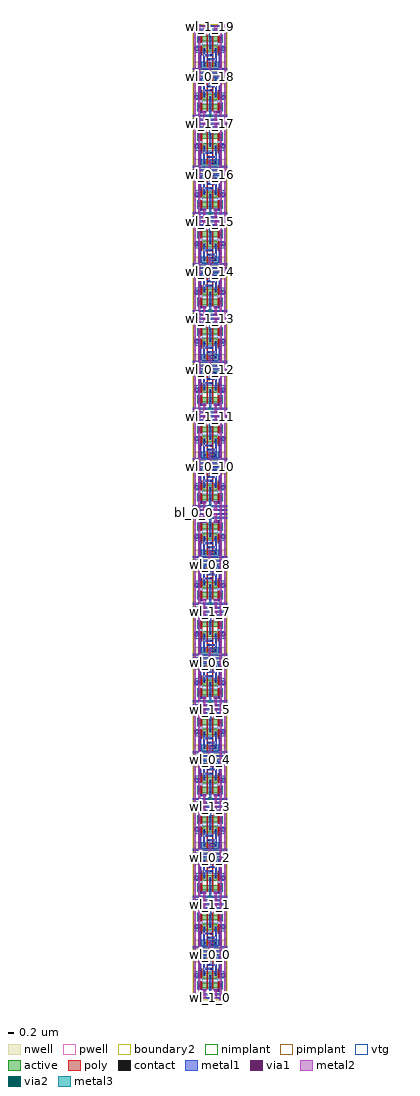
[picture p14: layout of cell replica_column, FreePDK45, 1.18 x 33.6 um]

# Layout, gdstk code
import gdstk
lib = gdstk.Library(unit=1e-6, precision=5e-10)
def R(c, l, rs):  # rectangles x0, y0, x1, y1
    for r in rs: c.add(gdstk.rectangle(r[:2], r[2:], *l))
def A(c, l, x, y, w, h, nx, ny, dx, dy):  # array of equal rectangles
    R(c, l, [(x+i*dx, y+j*dy, x+i*dx+w, y+j*dy+h) for i in range(nx) for j in range(ny)])
active = (1, 0)
pwell = (2, 0)
nwell = (3, 0)
nimplant = (4, 0)
pimplant = (5, 0)
vtg = (6, 0)
poly = (9, 0)
contact = (10, 0)
metal1 = (11, 0)
via1 = (12, 0)
metal2 = (13, 0)
via2 = (14, 0)
metal3 = (15, 0)
boundary2 = (239, 0)

dummy_cell_2rw = lib.new_cell('dummy_cell_2rw')
R(dummy_cell_2rw, active, [(0.545,0.155,0.635,0.245), (0.165,0.4175,0.22,0.5975), (0.2075,0.4175,0.2775,0.5975), (0.2075,0.4175,0.3975,0.5975), (0.3275,0.4175,0.3975,0.5975), (0.3975,0.4175,0.4675,0.5975), (0.3975,0.4175,0.5875,0.5975), (0.5175,0.4175,0.5875,0.5975), (0.5525,0.4175,0.6275,0.4925), (0.5525,0.4175,0.6275,0.5975), (0.5525,0.4175,0.6275,0.5975), (0.5525,0.4175,0.7775,0.5975), (0.7075,0.4175,0.7775,0.5975), (0.7775,0.4175,0.8475,0.5975), (0.7775,0.4175,0.9675,0.5975), (0.8975,0.4175,0.9675,0.5975), (0.955,0.4175,1.01,0.5975), (0.165,0.4625,0.255,0.5525), (0.92,0.4625,1.01,0.5525), (0.3625,0.7375,0.4375,0.9425), (0.3625,0.7375,0.4375,0.9425), (0.3625,0.7375,0.5875,0.9425), (0.5175,0.7375,0.5875,0.9425), (0.5875,0.7375,0.6575,0.9425), (0.5875,0.7375,0.8125,0.9425), (0.7375,0.7375,0.8125,0.9425), (0.7375,0.7375,0.8125,0.9425), (0.545,0.7575,0.635,0.8475), (0.1575,0.8075,0.2325,0.8825), (0.1575,0.8075,0.2325,0.9425), (0.1575,0.8075,0.2325,0.9425), (0.1575,0.8075,0.3825,0.9425), (0.3125,0.8075,0.3825,0.9425), (0.7925,0.8075,0.8625,0.9425), (0.7925,0.8075,1.0175,0.9425), (0.9425,0.8075,1.0175,0.8825), (0.9425,0.8075,1.0175,0.9425), (0.9425,0.8075,1.0175,0.9425), (0.3625,0.8675,0.4375,0.9425), (0.7375,0.8675,0.8125,0.9425), (0.3625,1.3475,0.4375,1.4225), (0.3625,1.3475,0.4375,1.4375), (0.3625,1.3475,0.4375,1.4375), (0.3625,1.3475,0.6225,1.4375), (0.5475,1.3475,0.6225,1.4225), (0.5475,1.3475,0.6225,1.4375), (0.5475,1.3475,0.6225,1.4375), (0.5875,1.3475,0.6575,1.4375), (0.5875,1.3475,0.8125,1.4375), (0.7375,1.3475,0.8125,1.4225), (0.7375,1.3475,0.8125,1.4375), (0.7375,1.3475,0.8125,1.4375), (0.54,1.635,0.63,1.725)])
R(dummy_cell_2rw, pwell, [(0,0,1.175,0.9975), (0.49,0.1,0.69,0.3), (0.1525,0.3625,0.4525,0.6525), (0.3425,0.3625,0.6425,0.6525), (0.4975,0.3625,0.8325,0.6525), (0.7225,0.3625,1.0225,0.6525), (0.3075,0.6825,0.6425,0.9975), (0.5325,0.6825,0.8675,0.9975), (0.1025,0.7525,0.4375,0.9975), (0.7375,0.7525,1.0725,0.9975)])
R(dummy_cell_2rw, nwell, [(0,1.2925,1.175,1.68), (0.3075,1.2925,0.6775,1.4925), (0.5325,1.2925,0.8675,1.4925), (0.485,1.58,0.685,1.78)])
R(dummy_cell_2rw, nimplant, [(0.165,0.4175,0.22,0.5975), (0.2075,0.4175,0.3975,0.5975), (0.3975,0.4175,0.5875,0.5975), (0.5525,0.4175,0.7775,0.5975), (0.7775,0.4175,0.9675,0.5975), (0.955,0.4175,1.01,0.5975), (0.165,0.4625,0.255,0.5525), (0.92,0.4625,1.01,0.5525), (0.3625,0.7375,0.5875,0.9425), (0.5875,0.7375,0.8125,0.9425), (0.545,0.7575,0.635,0.8475), (0.1575,0.8075,0.3825,0.9425), (0.7925,0.8075,1.0175,0.9425), (0.54,1.635,0.63,1.725)])
R(dummy_cell_2rw, pimplant, [(0.545,0.155,0.635,0.245), (0.3625,1.3475,0.6225,1.4375), (0.5875,1.3475,0.8125,1.4375)])
R(dummy_cell_2rw, vtg, [(0.1525,0.3625,0.4525,0.6525), (0.3425,0.3625,0.6425,0.6525), (0.4975,0.3625,0.8325,0.6525), (0.7225,0.3625,1.0225,0.6525), (0.3075,0.6825,0.6425,0.9975), (0.5325,0.6825,0.8675,0.9975), (0.1025,0.7525,0.4375,0.9975), (0.7375,0.7525,1.0725,0.9975), (0.3075,1.2925,0.6775,1.4925), (0.5325,1.2925,0.8675,1.4925)])
A(dummy_cell_2rw, poly, 0.2775, 0.3625, 0.05, 0.055, 4, 2, 0.19, 0.235)
A(dummy_cell_2rw, poly, 0.2775, 0.3625, 0.05, 0.29, 4, 1, 0.19, 0)
R(dummy_cell_2rw, poly, [(0.265,0.2925,0.34,0.3675), (0.835,0.2925,0.91,0.3675), (0.6575,0.625,0.7075,0.71), (0.4675,0.635,0.5175,0.71), (0.4675,0.6825,0.5175,0.9975), (0.4675,0.6825,0.5175,0.7375), (0.6575,0.6825,0.7075,0.9975), (0.6575,0.6825,0.7075,0.7375), (0.2625,0.7525,0.3125,0.8075), (0.2625,0.7525,0.3125,0.9975), (0.8625,0.7525,0.9125,0.8075), (0.8625,0.7525,0.9125,0.9975), (0.4675,0.9075,0.5175,1.32), (0.6575,0.9075,0.7075,1.32), (0.2625,0.9425,0.3125,0.9975), (0.4675,0.9425,0.5175,0.9975), (0.6575,0.9425,0.7075,0.9975), (0.8625,0.9425,0.9125,0.9975), (0.2625,0.985,0.3125,1.0825), (0.8625,0.985,0.9125,1.0825), (0.2125,1.0075,0.2875,1.0825), (0.8875,1.0075,0.9625,1.0825), (0.5925,1.0325,0.6675,1.1075), (0.5075,1.1825,0.5825,1.2575), (0.4675,1.2925,0.5175,1.3475), (0.4675,1.2925,0.5175,1.4925), (0.6575,1.2925,0.7075,1.3475), (0.6575,1.2925,0.7075,1.4925), (0.4675,1.4375,0.5175,1.4925), (0.6575,1.4375,0.7075,1.4925)])
R(dummy_cell_2rw, contact, [(0.5575,0.1675,0.6225,0.2325), (0.27,0.2975,0.335,0.3625), (0.84,0.2975,0.905,0.3625), (0.5575,0.4225,0.6225,0.4875), (0.1775,0.475,0.2425,0.54), (0.9325,0.475,0.9975,0.54), (0.5575,0.77,0.6225,0.835), (0.1625,0.8125,0.2275,0.8775), (0.9475,0.8125,1.0125,0.8775), (0.3675,0.8725,0.4325,0.9375), (0.7425,0.8725,0.8075,0.9375), (0.2175,1.0125,0.2825,1.0775), (0.8925,1.0125,0.9575,1.0775), (0.5975,1.0375,0.6625,1.1025), (0.5125,1.1875,0.5775,1.2525), (0.3675,1.3525,0.4325,1.4175), (0.5525,1.3525,0.6175,1.4175), (0.7425,1.3525,0.8075,1.4175), (0.5525,1.6475,0.6175,1.7125)])
R(dummy_cell_2rw, metal1, [(0,0.0375,1.175,0.1025), (0,0.0375,1.175,0.1025), (0.315,0.0375,0.45,0.1025), (0.725,0.0375,0.86,0.1025), (0.11,0.05,0.1725,0.08), (0,0.1675,1.175,0.2325), (0.5225,0.1675,0.6575,0.2325), (0.5575,0.1975,0.6225,0.8), (0.235,0.2975,0.37,0.3625), (0.315,0.2975,0.45,0.3625), (0.725,0.2975,0.86,0.3625), (0.805,0.2975,0.94,0.3625), (0.5575,0.3875,0.6225,0.5225), (0.1775,0.44,0.2425,0.575), (0.1775,0.44,0.2425,0.575), (0.9325,0.44,0.9975,0.575), (0.9325,0.44,0.9975,0.575), (0.5575,0.735,0.6225,0.87), (0.0375,0.7775,0.1025,0.9125), (0.0375,0.7775,0.2275,0.9125), (0.1625,0.7775,0.2275,0.9125), (0.9475,0.7775,1.0125,0.9125), (0.9475,0.7775,1.1375,0.9125), (1.0725,0.7775,1.1375,0.9125), (0.3475,0.8375,0.4125,1.4525), (0.3675,0.8375,0.4325,0.9725), (0.7425,0.8375,0.8075,0.9725), (0.7625,0.8375,0.8275,1.4525), (0.2175,0.9775,0.2825,1.1125), (0.8925,0.9775,0.9575,1.1125), (0.3675,1.0375,0.5825,1.1025), (0.5625,1.0375,0.6975,1.1025), (0.2175,1.08,0.2825,1.57), (0.8925,1.08,0.9575,1.57), (0.4775,1.1875,0.6125,1.2525), (0.5925,1.1875,0.8275,1.2525), (0.3675,1.3175,0.4325,1.4525), (0.5525,1.3175,0.6175,1.4525), (0.5525,1.3175,0.6175,1.4525), (0.7425,1.3175,0.8075,1.4525), (0,1.5175,1.175,1.5825), (0,1.5175,1.175,1.5825), (0.1,1.5275,0.185,1.5625), (0,1.6475,1.175,1.7125), (0.5175,1.6475,0.6525,1.7125), (0.5175,1.6475,0.6525,1.7125)])
R(dummy_cell_2rw, via1, [(0.35,0.0375,0.415,0.1025), (0.76,0.0375,0.825,0.1025), (0.5575,0.1675,0.6225,0.2325), (0.35,0.2975,0.415,0.3625), (0.76,0.2975,0.825,0.3625), (0.5525,1.3525,0.6175,1.4175), (0.5525,1.6475,0.6175,1.7125)])
R(dummy_cell_2rw, metal2, [(0.035,0,0.105,1.745), (0.035,0,0.105,1.745), (0.175,0,0.245,1.745), (0.175,0,0.245,1.745), (0.93,0,1,1.745), (0.93,0,1,1.745), (1.07,0,1.14,1.745), (1.07,0,1.14,1.745), (0.315,0.035,0.45,0.105), (0.725,0.035,0.86,0.105), (0.3475,0.1025,0.4175,0.365), (0.7575,0.1025,0.8275,0.365), (0.5225,0.165,0.6575,0.235), (0.315,0.295,0.45,0.365), (0.725,0.295,0.86,0.365), (0.175,0.44,0.245,0.575), (0.93,0.44,1,0.575), (0.035,0.7775,0.105,0.9125), (1.07,0.7775,1.14,0.9125), (0.55,1.3175,0.62,1.4525), (1.0875,1.3225,1.1325,1.3575), (0.9525,1.33,0.985,1.36), (0.1925,1.34,0.23,1.365), (0.0475,1.3425,0.09,1.37), (0.55,1.3425,0.62,1.7125), (0.5175,1.645,0.6525,1.715)])
R(dummy_cell_2rw, via2, [(0.5575,0.1675,0.6225,0.2325), (0.5525,1.6475,0.6175,1.7125)])
R(dummy_cell_2rw, metal3, [(0.5225,0.165,0.6575,0.235), (0.5225,0.165,0.6575,0.235), (0.5825,0.1875,0.605,0.21), (0.5175,1.645,0.6525,1.715), (0.5175,1.645,0.6525,1.715), (0.58,1.6775,0.59,1.6875)])
R(dummy_cell_2rw, boundary2, [(0,0,1.175,1.68)])
dummy_cell_2rw.add(gdstk.Label('wl1', (0.135,0.0625), layer=11, texttype=0))
dummy_cell_2rw.add(gdstk.Label('wl0', (0.14,1.54), layer=11, texttype=0))
dummy_cell_2rw.add(gdstk.Label('br0', (1.1075,1.3425), layer=13, texttype=0))
dummy_cell_2rw.add(gdstk.Label('br1', (0.9675,1.3475), layer=13, texttype=0))
dummy_cell_2rw.add(gdstk.Label('bl1', (0.205,1.3575), layer=13, texttype=0))
dummy_cell_2rw.add(gdstk.Label('bl0', (0.07,1.3575), layer=13, texttype=0))
dummy_cell_2rw.add(gdstk.Label('vdd', (0.585,1.6825), layer=15, texttype=0))
dummy_cell_2rw.add(gdstk.Label('gnd', (0.5925,0.1975), layer=15, texttype=0))
dummy_cell_2rw.add(gdstk.Label('bl0', (0.07,0.8725), layer=13, texttype=0))
dummy_cell_2rw.add(gdstk.Label('br0', (1.105,0.8725), layer=13, texttype=0))
dummy_cell_2rw.add(gdstk.Label('bl1', (0.21,0.8725), layer=13, texttype=0))
dummy_cell_2rw.add(gdstk.Label('br1', (0.965,0.8725), layer=13, texttype=0))
dummy_cell_2rw.add(gdstk.Label('wl0', (0.5875,1.55), layer=11, texttype=0))
dummy_cell_2rw.add(gdstk.Label('wl1', (0.5875,0.07), layer=11, texttype=0))
dummy_cell_2rw.add(gdstk.Label('vdd', (0.585,1.68), layer=15, texttype=0))
dummy_cell_2rw.add(gdstk.Label('gnd', (0.59,0.2), layer=15, texttype=0))

replica_cell_2rw = lib.new_cell('replica_cell_2rw')
R(replica_cell_2rw, active, [(0.545,0.155,0.635,0.245), (0.165,0.4175,0.22,0.5975), (0.2075,0.4175,0.2775,0.5975), (0.2075,0.4175,0.3975,0.5975), (0.3275,0.4175,0.3975,0.5975), (0.3975,0.4175,0.4675,0.5975), (0.3975,0.4175,0.5875,0.5975), (0.5175,0.4175,0.5875,0.5975), (0.5525,0.4175,0.6275,0.4925), (0.5525,0.4175,0.6275,0.5975), (0.5525,0.4175,0.6275,0.5975), (0.5525,0.4175,0.7775,0.5975), (0.7075,0.4175,0.7775,0.5975), (0.7775,0.4175,0.8475,0.5975), (0.7775,0.4175,0.9675,0.5975), (0.8975,0.4175,0.9675,0.5975), (0.955,0.4175,1.01,0.5975), (0.165,0.4625,0.255,0.5525), (0.92,0.4625,1.01,0.5525), (0.3625,0.7375,0.4375,0.9425), (0.3625,0.7375,0.4375,0.9425), (0.3625,0.7375,0.5875,0.9425), (0.5175,0.7375,0.5875,0.9425), (0.5875,0.7375,0.6575,0.9425), (0.5875,0.7375,0.8125,0.9425), (0.7375,0.7375,0.8125,0.9425), (0.7375,0.7375,0.8125,0.9425), (0.545,0.7575,0.635,0.8475), (0.1575,0.8075,0.2325,0.8825), (0.1575,0.8075,0.2325,0.9425), (0.1575,0.8075,0.2325,0.9425), (0.1575,0.8075,0.3825,0.9425), (0.3125,0.8075,0.3825,0.9425), (0.7925,0.8075,0.8625,0.9425), (0.7925,0.8075,1.0175,0.9425), (0.9425,0.8075,1.0175,0.8825), (0.9425,0.8075,1.0175,0.9425), (0.9425,0.8075,1.0175,0.9425), (0.3625,0.8675,0.4375,0.9425), (0.7375,0.8675,0.8125,0.9425), (0.3625,1.3475,0.4375,1.4225), (0.3625,1.3475,0.4375,1.4375), (0.3625,1.3475,0.4375,1.4375), (0.3625,1.3475,0.6225,1.4375), (0.5475,1.3475,0.6225,1.4225), (0.5475,1.3475,0.6225,1.4375), (0.5475,1.3475,0.6225,1.4375), (0.5875,1.3475,0.6575,1.4375), (0.5875,1.3475,0.8125,1.4375), (0.7375,1.3475,0.8125,1.4225), (0.7375,1.3475,0.8125,1.4375), (0.7375,1.3475,0.8125,1.4375), (0.54,1.635,0.63,1.725)])
R(replica_cell_2rw, pwell, [(0,0,1.175,0.9975), (0.49,0.1,0.69,0.3), (0.1525,0.3625,0.4525,0.6525), (0.3425,0.3625,0.6425,0.6525), (0.4975,0.3625,0.8325,0.6525), (0.7225,0.3625,1.0225,0.6525), (0.3075,0.6825,0.6425,0.9975), (0.5325,0.6825,0.8675,0.9975), (0.1025,0.7525,0.4375,0.9975), (0.7375,0.7525,1.0725,0.9975)])
R(replica_cell_2rw, nwell, [(0,1.2925,1.175,1.68), (0.3075,1.2925,0.6775,1.4925), (0.5325,1.2925,0.8675,1.4925), (0.485,1.58,0.685,1.78)])
R(replica_cell_2rw, nimplant, [(0.165,0.4175,0.22,0.5975), (0.2075,0.4175,0.3975,0.5975), (0.3975,0.4175,0.5875,0.5975), (0.5525,0.4175,0.7775,0.5975), (0.7775,0.4175,0.9675,0.5975), (0.955,0.4175,1.01,0.5975), (0.165,0.4625,0.255,0.5525), (0.92,0.4625,1.01,0.5525), (0.3625,0.7375,0.5875,0.9425), (0.5875,0.7375,0.8125,0.9425), (0.545,0.7575,0.635,0.8475), (0.1575,0.8075,0.3825,0.9425), (0.7925,0.8075,1.0175,0.9425), (0.54,1.635,0.63,1.725)])
R(replica_cell_2rw, pimplant, [(0.545,0.155,0.635,0.245), (0.3625,1.3475,0.6225,1.4375), (0.5875,1.3475,0.8125,1.4375)])
R(replica_cell_2rw, vtg, [(0.1525,0.3625,0.4525,0.6525), (0.3425,0.3625,0.6425,0.6525), (0.4975,0.3625,0.8325,0.6525), (0.7225,0.3625,1.0225,0.6525), (0.3075,0.6825,0.6425,0.9975), (0.5325,0.6825,0.8675,0.9975), (0.1025,0.7525,0.4375,0.9975), (0.7375,0.7525,1.0725,0.9975), (0.3075,1.2925,0.6775,1.4925), (0.5325,1.2925,0.8675,1.4925)])
A(replica_cell_2rw, poly, 0.2775, 0.3625, 0.05, 0.055, 4, 2, 0.19, 0.235)
A(replica_cell_2rw, poly, 0.2775, 0.3625, 0.05, 0.29, 4, 1, 0.19, 0)
R(replica_cell_2rw, poly, [(0.265,0.2925,0.34,0.3675), (0.835,0.2925,0.91,0.3675), (0.6575,0.625,0.7075,0.71), (0.4675,0.635,0.5175,0.71), (0.4675,0.6825,0.5175,0.9975), (0.4675,0.6825,0.5175,0.7375), (0.6575,0.6825,0.7075,0.9975), (0.6575,0.6825,0.7075,0.7375), (0.2625,0.7525,0.3125,0.8075), (0.2625,0.7525,0.3125,0.9975), (0.8625,0.7525,0.9125,0.8075), (0.8625,0.7525,0.9125,0.9975), (0.4675,0.9075,0.5175,1.32), (0.6575,0.9075,0.7075,1.32), (0.2625,0.9425,0.3125,0.9975), (0.4675,0.9425,0.5175,0.9975), (0.6575,0.9425,0.7075,0.9975), (0.8625,0.9425,0.9125,0.9975), (0.2625,0.985,0.3125,1.0825), (0.8625,0.985,0.9125,1.0825), (0.2125,1.0075,0.2875,1.0825), (0.8875,1.0075,0.9625,1.0825), (0.5925,1.0325,0.6675,1.1075), (0.5075,1.1825,0.5825,1.2575), (0.4675,1.2925,0.5175,1.3475), (0.4675,1.2925,0.5175,1.4925), (0.6575,1.2925,0.7075,1.3475), (0.6575,1.2925,0.7075,1.4925), (0.4675,1.4375,0.5175,1.4925), (0.6575,1.4375,0.7075,1.4925)])
R(replica_cell_2rw, contact, [(0.5575,0.1675,0.6225,0.2325), (0.27,0.2975,0.335,0.3625), (0.84,0.2975,0.905,0.3625), (0.5575,0.4225,0.6225,0.4875), (0.1775,0.475,0.2425,0.54), (0.9325,0.475,0.9975,0.54), (0.5575,0.77,0.6225,0.835), (0.1625,0.8125,0.2275,0.8775), (0.9475,0.8125,1.0125,0.8775), (0.3675,0.8725,0.4325,0.9375), (0.7425,0.8725,0.8075,0.9375), (0.2175,1.0125,0.2825,1.0775), (0.8925,1.0125,0.9575,1.0775), (0.5975,1.0375,0.6625,1.1025), (0.5125,1.1875,0.5775,1.2525), (0.3675,1.3525,0.4325,1.4175), (0.5525,1.3525,0.6175,1.4175), (0.7425,1.3525,0.8075,1.4175), (0.5525,1.6475,0.6175,1.7125)])
R(replica_cell_2rw, metal1, [(0,0.0375,1.175,0.1025), (0,0.0375,1.175,0.1025), (0.315,0.0375,0.45,0.1025), (0.725,0.0375,0.86,0.1025), (0.11,0.05,0.1725,0.08), (0,0.1675,1.175,0.2325), (0.5225,0.1675,0.6575,0.2325), (0.5575,0.1975,0.6225,0.8), (0.235,0.2975,0.37,0.3625), (0.315,0.2975,0.45,0.3625), (0.725,0.2975,0.86,0.3625), (0.805,0.2975,0.94,0.3625), (0.5575,0.3875,0.6225,0.5225), (0.1775,0.44,0.2425,0.575), (0.1775,0.44,0.2425,0.575), (0.9325,0.44,0.9975,0.575), (0.9325,0.44,0.9975,0.575), (0.5575,0.735,0.6225,0.87), (0.0375,0.7775,0.1025,0.9125), (0.0375,0.7775,0.2275,0.9125), (0.1625,0.7775,0.2275,0.9125), (0.9475,0.7775,1.0125,0.9125), (0.9475,0.7775,1.1375,0.9125), (1.0725,0.7775,1.1375,0.9125), (0.3475,0.8375,0.4125,1.4525), (0.3675,0.8375,0.4325,0.9725), (0.7425,0.8375,0.8075,0.9725), (0.7625,0.8375,0.8275,1.4525), (0.2175,0.9775,0.2825,1.1125), (0.8925,0.9775,0.9575,1.1125), (0.3675,1.0375,0.5825,1.1025), (0.5625,1.0375,0.6975,1.1025), (0.2175,1.08,0.2825,1.57), (0.8925,1.08,0.9575,1.57), (0.4775,1.1875,0.6125,1.2525), (0.5925,1.1875,0.8275,1.2525), (0.3675,1.3175,0.4325,1.4525), (0.5525,1.3175,0.6175,1.4525), (0.5525,1.3175,0.6175,1.4525), (0.5525,1.3175,0.8075,1.4525), (0.7425,1.3175,0.8075,1.4525), (0,1.5175,1.175,1.5825), (0,1.5175,1.175,1.5825), (0.1,1.5275,0.185,1.5625), (0,1.6475,1.175,1.7125), (0.5175,1.6475,0.6525,1.7125), (0.5175,1.6475,0.6525,1.7125)])
R(replica_cell_2rw, via1, [(0.35,0.0375,0.415,0.1025), (0.76,0.0375,0.825,0.1025), (0.5575,0.1675,0.6225,0.2325), (0.35,0.2975,0.415,0.3625), (0.76,0.2975,0.825,0.3625), (0.1775,0.475,0.2425,0.54), (0.9325,0.475,0.9975,0.54), (0.0375,0.8125,0.1025,0.8775), (1.0725,0.8125,1.1375,0.8775), (0.5525,1.3525,0.6175,1.4175), (0.5525,1.6475,0.6175,1.7125)])
R(replica_cell_2rw, metal2, [(0.035,0,0.105,1.745), (0.035,0,0.105,1.745), (0.175,0,0.245,1.745), (0.175,0,0.245,1.745), (0.93,0,1,1.745), (0.93,0,1,1.745), (1.07,0,1.14,1.745), (1.07,0,1.14,1.745), (0.315,0.035,0.45,0.105), (0.725,0.035,0.86,0.105), (0.3475,0.1025,0.4175,0.365), (0.7575,0.1025,0.8275,0.365), (0.5225,0.165,0.6575,0.235), (0.315,0.295,0.45,0.365), (0.725,0.295,0.86,0.365), (0.175,0.44,0.245,0.575), (0.93,0.44,1,0.575), (0.035,0.7775,0.105,0.9125), (1.07,0.7775,1.14,0.9125), (0.55,1.3175,0.62,1.4525), (1.0875,1.3225,1.1325,1.3575), (0.9525,1.33,0.985,1.36), (0.1925,1.34,0.23,1.365), (0.0475,1.3425,0.09,1.37), (0.55,1.3425,0.62,1.7125), (0.5175,1.645,0.6525,1.715)])
R(replica_cell_2rw, via2, [(0.5575,0.1675,0.6225,0.2325), (0.5525,1.6475,0.6175,1.7125)])
R(replica_cell_2rw, metal3, [(0.5225,0.165,0.6575,0.235), (0.5225,0.165,0.6575,0.235), (0.5825,0.1925,0.595,0.205), (0.5175,1.645,0.6525,1.715), (0.5175,1.645,0.6525,1.715), (0.58,1.675,0.5925,1.685)])
R(replica_cell_2rw, boundary2, [(0,0,1.175,1.68)])
replica_cell_2rw.add(gdstk.Label('wl1', (0.135,0.0625), layer=11, texttype=0))
replica_cell_2rw.add(gdstk.Label('wl0', (0.14,1.54), layer=11, texttype=0))
replica_cell_2rw.add(gdstk.Label('br0', (1.1075,1.3425), layer=13, texttype=0))
replica_cell_2rw.add(gdstk.Label('br1', (0.9675,1.3475), layer=13, texttype=0))
replica_cell_2rw.add(gdstk.Label('bl1', (0.205,1.3575), layer=13, texttype=0))
replica_cell_2rw.add(gdstk.Label('bl0', (0.07,1.3575), layer=13, texttype=0))
replica_cell_2rw.add(gdstk.Label('vdd', (0.585,1.68), layer=15, texttype=0))
replica_cell_2rw.add(gdstk.Label('gnd', (0.59,0.2), layer=15, texttype=0))
replica_cell_2rw.add(gdstk.Label('bl0', (0.07,0.8725), layer=13, texttype=0))
replica_cell_2rw.add(gdstk.Label('br0', (1.105,0.8725), layer=13, texttype=0))
replica_cell_2rw.add(gdstk.Label('bl1', (0.21,0.8725), layer=13, texttype=0))
replica_cell_2rw.add(gdstk.Label('br1', (0.965,0.8725), layer=13, texttype=0))
replica_cell_2rw.add(gdstk.Label('wl0', (0.5875,1.55), layer=11, texttype=0))
replica_cell_2rw.add(gdstk.Label('wl1', (0.5875,0.07), layer=11, texttype=0))
replica_cell_2rw.add(gdstk.Label('vdd', (0.585,1.68), layer=15, texttype=0))
replica_cell_2rw.add(gdstk.Label('gnd', (0.59,0.2), layer=15, texttype=0))

replica_column = lib.new_cell('replica_column')
R(replica_column, metal1, [(0,0.0375,1.175,0.1025), (0,1.5175,1.175,1.5825), (0,1.7775,1.175,1.8425), (0,3.2575,1.175,3.3225), (0,3.3975,1.175,3.4625), (0,4.8775,1.175,4.9425), (0,5.1375,1.175,5.2025), (0,6.6175,1.175,6.6825), (0,6.7575,1.175,6.8225), (0,8.2375,1.175,8.3025), (0,8.4975,1.175,8.5625), (0,9.9775,1.175,10.0425), (0,10.1175,1.175,10.1825), (0,11.5975,1.175,11.6625), (0,11.8575,1.175,11.9225), (0,13.3375,1.175,13.4025), (0,13.4775,1.175,13.5425), (0,14.9575,1.175,15.0225), (0,15.2175,1.175,15.2825), (0,16.6975,1.175,16.7625), (0,16.8375,1.175,16.9025), (0,18.3175,1.175,18.3825), (0,18.5775,1.175,18.6425), (0,20.0575,1.175,20.1225), (0,20.1975,1.175,20.2625), (0,21.6775,1.175,21.7425), (0,21.9375,1.175,22.0025), (0,23.4175,1.175,23.4825), (0,23.5575,1.175,23.6225), (0,25.0375,1.175,25.1025), (0,25.2975,1.175,25.3625), (0,26.7775,1.175,26.8425), (0,26.9175,1.175,26.9825), (0,28.3975,1.175,28.4625), (0,28.6575,1.175,28.7225), (0,30.1375,1.175,30.2025), (0,30.2775,1.175,30.3425), (0,31.7575,1.175,31.8225), (0,32.0175,1.175,32.0825), (0,33.4975,1.175,33.5625)])
R(replica_column, metal2, [(0.035,0,0.105,33.6), (0.175,0,0.245,33.6), (0.93,0,1,33.6), (1.07,0,1.14,33.6)])
A(replica_column, metal3, 0.5175, 5.005, 0.135, 0.07, 1, 4, 0, 3.36)
A(replica_column, metal3, 0.5175, 15.085, 0.135, 0.07, 1, 5, 0, 3.36)
R(replica_column, metal3, [(0.555,0.165,0.625,0.235), (0.5175,1.645,0.6525,1.715), (0.55,1.645,0.62,1.715), (0.5225,3.125,0.6575,3.195), (0.5225,3.525,0.6575,3.595), (0.5175,5.005,0.6525,5.075), (0.5225,6.485,0.6575,6.555), (0.5225,6.885,0.6575,6.955), (0.5225,9.845,0.6575,9.915), (0.5225,10.245,0.6575,10.315), (0.5225,13.205,0.6575,13.275), (0.5225,13.605,0.6575,13.675), (0.5225,16.565,0.6575,16.635), (0.5225,16.965,0.6575,17.035), (0.5225,19.925,0.6575,19.995), (0.5225,20.325,0.6575,20.395), (0.5225,23.285,0.6575,23.355), (0.5225,23.685,0.6575,23.755), (0.5225,26.645,0.6575,26.715), (0.5225,27.045,0.6575,27.115), (0.5175,28.525,0.6525,28.595), (0.5225,30.005,0.6575,30.075), (0.5225,30.405,0.6575,30.475), (0.5175,31.885,0.6525,31.955), (0.55,31.885,0.62,31.955), (0.555,33.365,0.625,33.435)])
R(replica_column, boundary2, [(0,0,1.175,33.6)])
replica_column.add(gdstk.Reference(dummy_cell_2rw, (0,0)))
replica_column.add(gdstk.Reference(replica_cell_2rw, (0,3.36), x_reflection=True))
replica_column.add(gdstk.Reference(replica_cell_2rw, (0,3.36)))
replica_column.add(gdstk.Reference(replica_cell_2rw, (0,6.72), x_reflection=True))
replica_column.add(gdstk.Reference(replica_cell_2rw, (0,6.72)))
replica_column.add(gdstk.Reference(replica_cell_2rw, (0,10.08), x_reflection=True))
replica_column.add(gdstk.Reference(replica_cell_2rw, (0,10.08)))
replica_column.add(gdstk.Reference(replica_cell_2rw, (0,13.44), x_reflection=True))
replica_column.add(gdstk.Reference(replica_cell_2rw, (0,13.44)))
replica_column.add(gdstk.Reference(replica_cell_2rw, (0,16.8), x_reflection=True))
replica_column.add(gdstk.Reference(replica_cell_2rw, (0,16.8)))
replica_column.add(gdstk.Reference(replica_cell_2rw, (0,20.16), x_reflection=True))
replica_column.add(gdstk.Reference(replica_cell_2rw, (0,20.16)))
replica_column.add(gdstk.Reference(replica_cell_2rw, (0,23.52), x_reflection=True))
replica_column.add(gdstk.Reference(replica_cell_2rw, (0,23.52)))
replica_column.add(gdstk.Reference(replica_cell_2rw, (0,26.88), x_reflection=True))
replica_column.add(gdstk.Reference(replica_cell_2rw, (0,26.88)))
replica_column.add(gdstk.Reference(replica_cell_2rw, (0,30.24), x_reflection=True))
replica_column.add(gdstk.Reference(dummy_cell_2rw, (0,30.24)))
replica_column.add(gdstk.Reference(dummy_cell_2rw, (0,33.6), x_reflection=True))
replica_column.add(gdstk.Label('bl_0_0', (0.07,16.8), layer=13, texttype=0))
replica_column.add(gdstk.Label('br_0_0', (1.105,16.8), layer=13, texttype=0))
replica_column.add(gdstk.Label('bl_1_0', (0.21,16.8), layer=13, texttype=0))
replica_column.add(gdstk.Label('br_1_0', (0.965,16.8), layer=13, texttype=0))
replica_column.add(gdstk.Label('wl_0_0', (0.5875,1.55), layer=11, texttype=0))
replica_column.add(gdstk.Label('wl_0_1', (0.5875,1.81), layer=11, texttype=0))
replica_column.add(gdstk.Label('wl_0_2', (0.5875,4.91), layer=11, texttype=0))
replica_column.add(gdstk.Label('wl_0_3', (0.5875,5.17), layer=11, texttype=0))
replica_column.add(gdstk.Label('wl_0_4', (0.5875,8.27), layer=11, texttype=0))
replica_column.add(gdstk.Label('wl_0_5', (0.5875,8.53), layer=11, texttype=0))
replica_column.add(gdstk.Label('wl_0_6', (0.5875,11.63), layer=11, texttype=0))
replica_column.add(gdstk.Label('wl_0_7', (0.5875,11.89), layer=11, texttype=0))
replica_column.add(gdstk.Label('wl_0_8', (0.5875,14.99), layer=11, texttype=0))
replica_column.add(gdstk.Label('wl_0_9', (0.5875,15.25), layer=11, texttype=0))
replica_column.add(gdstk.Label('wl_0_10', (0.5875,18.35), layer=11, texttype=0))
replica_column.add(gdstk.Label('wl_0_11', (0.5875,18.61), layer=11, texttype=0))
replica_column.add(gdstk.Label('wl_0_12', (0.5875,21.71), layer=11, texttype=0))
replica_column.add(gdstk.Label('wl_0_13', (0.5875,21.97), layer=11, texttype=0))
replica_column.add(gdstk.Label('wl_0_14', (0.5875,25.07), layer=11, texttype=0))
replica_column.add(gdstk.Label('wl_0_15', (0.5875,25.33), layer=11, texttype=0))
replica_column.add(gdstk.Label('wl_0_16', (0.5875,28.43), layer=11, texttype=0))
replica_column.add(gdstk.Label('wl_0_17', (0.5875,28.69), layer=11, texttype=0))
replica_column.add(gdstk.Label('wl_0_18', (0.5875,31.79), layer=11, texttype=0))
replica_column.add(gdstk.Label('wl_0_19', (0.5875,32.05), layer=11, texttype=0))
replica_column.add(gdstk.Label('wl_1_0', (0.5875,0.07), layer=11, texttype=0))
replica_column.add(gdstk.Label('wl_1_1', (0.5875,3.29), layer=11, texttype=0))
replica_column.add(gdstk.Label('wl_1_2', (0.5875,3.43), layer=11, texttype=0))
replica_column.add(gdstk.Label('wl_1_3', (0.5875,6.65), layer=11, texttype=0))
replica_column.add(gdstk.Label('wl_1_4', (0.5875,6.79), layer=11, texttype=0))
replica_column.add(gdstk.Label('wl_1_5', (0.5875,10.01), layer=11, texttype=0))
replica_column.add(gdstk.Label('wl_1_6', (0.5875,10.15), layer=11, texttype=0))
replica_column.add(gdstk.Label('wl_1_7', (0.5875,13.37), layer=11, texttype=0))
replica_column.add(gdstk.Label('wl_1_8', (0.5875,13.51), layer=11, texttype=0))
replica_column.add(gdstk.Label('wl_1_9', (0.5875,16.73), layer=11, texttype=0))
replica_column.add(gdstk.Label('wl_1_10', (0.5875,16.87), layer=11, texttype=0))
replica_column.add(gdstk.Label('wl_1_11', (0.5875,20.09), layer=11, texttype=0))
replica_column.add(gdstk.Label('wl_1_12', (0.5875,20.23), layer=11, texttype=0))
replica_column.add(gdstk.Label('wl_1_13', (0.5875,23.45), layer=11, texttype=0))
replica_column.add(gdstk.Label('wl_1_14', (0.5875,23.59), layer=11, texttype=0))
replica_column.add(gdstk.Label('wl_1_15', (0.5875,26.81), layer=11, texttype=0))
replica_column.add(gdstk.Label('wl_1_16', (0.5875,26.95), layer=11, texttype=0))
replica_column.add(gdstk.Label('wl_1_17', (0.5875,30.17), layer=11, texttype=0))
replica_column.add(gdstk.Label('wl_1_18', (0.5875,30.31), layer=11, texttype=0))
replica_column.add(gdstk.Label('wl_1_19', (0.5875,33.53), layer=11, texttype=0))
replica_column.add(gdstk.Label('vdd', (0.585,5.04), layer=15, texttype=0))
replica_column.add(gdstk.Label('vdd', (0.585,11.76), layer=15, texttype=0))
replica_column.add(gdstk.Label('vdd', (0.585,31.92), layer=15, texttype=0))
replica_column.add(gdstk.Label('vdd', (0.585,21.84), layer=15, texttype=0))
replica_column.add(gdstk.Label('vdd', (0.585,18.48), layer=15, texttype=0))
replica_column.add(gdstk.Label('vdd', (0.585,31.92), layer=15, texttype=0))
replica_column.add(gdstk.Label('vdd', (0.585,28.56), layer=15, texttype=0))
replica_column.add(gdstk.Label('vdd', (0.585,1.68), layer=15, texttype=0))
replica_column.add(gdstk.Label('vdd', (0.585,15.12), layer=15, texttype=0))
replica_column.add(gdstk.Label('vdd', (0.585,28.56), layer=15, texttype=0))
replica_column.add(gdstk.Label('vdd', (0.585,8.4), layer=15, texttype=0))
replica_column.add(gdstk.Label('vdd', (0.585,25.2), layer=15, texttype=0))
replica_column.add(gdstk.Label('vdd', (0.585,15.12), layer=15, texttype=0))
replica_column.add(gdstk.Label('vdd', (0.585,5.04), layer=15, texttype=0))
replica_column.add(gdstk.Label('vdd', (0.585,1.68), layer=15, texttype=0))
replica_column.add(gdstk.Label('gnd', (0.59,33.4), layer=15, texttype=0))
replica_column.add(gdstk.Label('gnd', (0.59,13.64), layer=15, texttype=0))
replica_column.add(gdstk.Label('gnd', (0.59,3.16), layer=15, texttype=0))
replica_column.add(gdstk.Label('gnd', (0.59,26.68), layer=15, texttype=0))
replica_column.add(gdstk.Label('gnd', (0.59,10.28), layer=15, texttype=0))
replica_column.add(gdstk.Label('gnd', (0.59,9.88), layer=15, texttype=0))
replica_column.add(gdstk.Label('gnd', (0.59,30.44), layer=15, texttype=0))
replica_column.add(gdstk.Label('gnd', (0.59,16.6), layer=15, texttype=0))
replica_column.add(gdstk.Label('gnd', (0.59,0.2), layer=15, texttype=0))
replica_column.add(gdstk.Label('gnd', (0.59,6.92), layer=15, texttype=0))
replica_column.add(gdstk.Label('gnd', (0.59,23.72), layer=15, texttype=0))
replica_column.add(gdstk.Label('gnd', (0.59,27.08), layer=15, texttype=0))
replica_column.add(gdstk.Label('gnd', (0.59,6.52), layer=15, texttype=0))
replica_column.add(gdstk.Label('gnd', (0.59,3.56), layer=15, texttype=0))
replica_column.add(gdstk.Label('gnd', (0.59,19.96), layer=15, texttype=0))
replica_column.add(gdstk.Label('gnd', (0.59,23.32), layer=15, texttype=0))
replica_column.add(gdstk.Label('gnd', (0.59,17), layer=15, texttype=0))
replica_column.add(gdstk.Label('gnd', (0.59,30.04), layer=15, texttype=0))
replica_column.add(gdstk.Label('gnd', (0.59,13.24), layer=15, texttype=0))
replica_column.add(gdstk.Label('gnd', (0.59,20.36), layer=15, texttype=0))

lib.write_gds('replica_column.gds')
